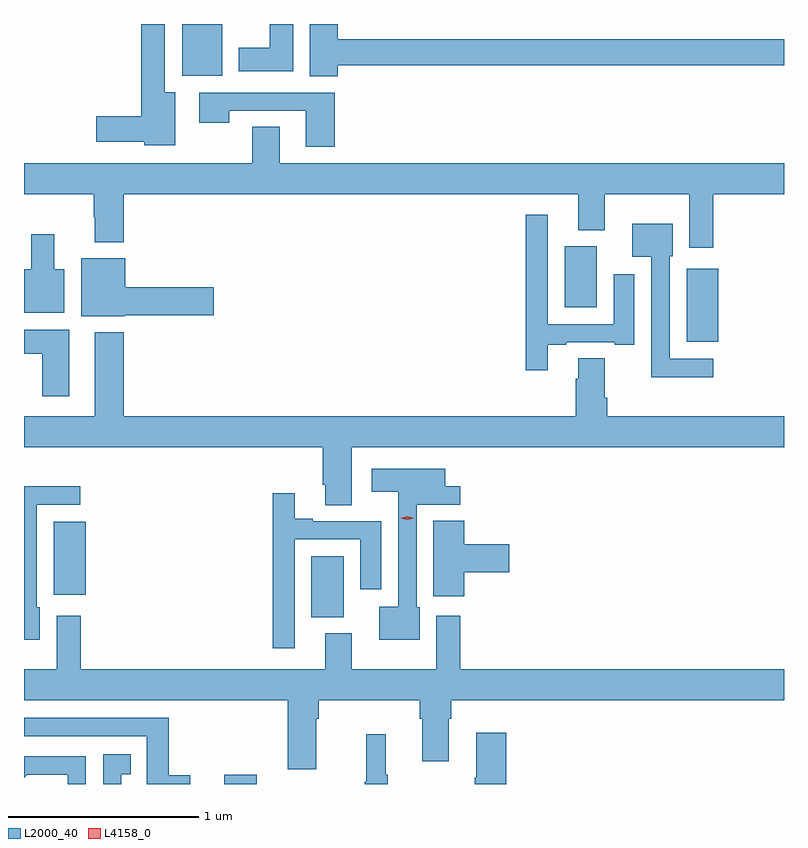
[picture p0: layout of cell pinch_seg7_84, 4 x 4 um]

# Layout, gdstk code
import gdstk
lib = gdstk.Library(unit=1e-6, precision=1e-09)
def R(c, l, rs):  # rectangles x0, y0, x1, y1
    for r in rs: c.add(gdstk.rectangle(r[:2], r[2:], *l))
def P(c, l, *ps):  # polygons
    for p in ps: c.add(gdstk.Polygon(p, *l))
L2000_40 = (2000, 40)
L4158_0 = (4158, 0)

pinch_seg7_84 = lib.new_cell('pinch_seg7_84')
R(pinch_seg7_84, L2000_40, [(912.818,1040.136,912.989,1040.185), (913.277,1041.014,913.447,1041.334), (911.921,1041.131,912.088,1041.517), (915.251,1042.463,915.418,1042.849), (914.609,1042.646,914.779,1042.966), (912.596,1043.864,912.808,1044.136)])
P(pinch_seg7_84, L2000_40, [(913.415,1043.92),(915.764,1043.92),(915.764,1044.056),(913.415,1044.056),(913.415,1044.136),(913.268,1044.136),(913.268,1043.86),(913.415,1043.86)],
  [(913.18,1044.136),(913.058,1044.136),(913.058,1044.01),(912.893,1044.01),(912.893,1043.888),(913.18,1043.888)],
  [(912.559,1043.776),(912.505,1043.776),(912.505,1044.136),(912.38,1044.136),(912.38,1043.651),(912.144,1043.651),(912.144,1043.516),(912.396,1043.516),(912.396,1043.498),(912.559,1043.498)],
  [(913.4,1043.775),(912.687,1043.775),(912.687,1043.616),(912.843,1043.616),(912.843,1043.679),(913.247,1043.679),(913.247,1043.49),(913.4,1043.49)],
  [(915.392,1043.24),(915.764,1043.24),(915.764,1043.404),(913.111,1043.404),(913.111,1043.594),(912.964,1043.594),(912.964,1043.404),(911.764,1043.404),(911.764,1043.24),(912.13,1043.24),(912.13,1043.12),(912.137,1043.12),(912.137,1042.988),(912.29,1042.988),(912.29,1043.24),(914.681,1043.24),(914.681,1043.051),(914.821,1043.051),(914.821,1043.24),(915.266,1043.24),(915.266,1042.959),(915.392,1042.959)],
  [(914.521,1042.449),(914.617,1042.449),(914.617,1042.461),(914.873,1042.461),(914.873,1042.449),(914.977,1042.449),(914.977,1042.819),(914.867,1042.819),(914.867,1042.557),(914.52,1042.557),(914.52,1043.131),(914.404,1043.131),(914.404,1042.314),(914.521,1042.314)],
  [(915.391,1042.374),(915.162,1042.374),(915.162,1042.914),(915.178,1042.914),(915.178,1043.086),(914.966,1043.086),(914.966,1042.91),(915.066,1042.91),(915.066,1042.277),(915.391,1042.277)],
  [(911.977,1042.846),(911.923,1042.846),(911.923,1043.029),(911.801,1043.029),(911.801,1042.846),(911.764,1042.846),(911.764,1042.616),(911.977,1042.616)],
  [(912.294,1042.603),(912.763,1042.603),(912.763,1042.751),(912.298,1042.751),(912.298,1042.903),(912.065,1042.903),(912.065,1042.598),(912.294,1042.598)],
  [(912.001,1042.528),(911.764,1042.528),(911.764,1042.4),(911.861,1042.4),(911.861,1042.176),(912.001,1042.176)],
  [(914.681,1042.376),(914.681,1042.268),(914.669,1042.268),(914.669,1042.072),(912.29,1042.072),(912.29,1042.513),(912.137,1042.513),(912.137,1042.072),(911.764,1042.072),(911.764,1041.908),(913.337,1041.908),(913.337,1041.712),(913.349,1041.712),(913.349,1041.604),(913.489,1041.604),(913.489,1041.908),(915.764,1041.908),(915.764,1042.072),(914.834,1042.072),(914.834,1042.168),(914.821,1042.168),(914.821,1042.376)],
  [(913.846,1041.066),(913.83,1041.066),(913.83,1041.606),(914.059,1041.606),(914.059,1041.704),(913.981,1041.704),(913.981,1041.796),(913.593,1041.796),(913.593,1041.674),(913.734,1041.674),(913.734,1041.07),(913.634,1041.07),(913.634,1040.894),(913.846,1040.894)],
  [(911.848,1041.066),(911.832,1041.066),(911.832,1041.606),(912.061,1041.606),(912.061,1041.704),(911.764,1041.704),(911.764,1040.894),(911.848,1040.894)],
  [(913.188,1041.423),(913.535,1041.423),(913.535,1041.162),(913.645,1041.162),(913.645,1041.519),(913.285,1041.519),(913.285,1041.532),(913.189,1041.532),(913.189,1041.667),(913.072,1041.667),(913.072,1040.85),(913.188,1040.85)],
  [(914.081,1041.251),(914.317,1041.251),(914.317,1041.398),(914.081,1041.398),(914.081,1041.521),(913.919,1041.521),(913.919,1041.123),(914.081,1041.123)],
  [(913.303,1040.48),(913.316,1040.48),(913.316,1040.576),(913.847,1040.576),(913.847,1040.48),(913.859,1040.48),(913.859,1040.256),(913.999,1040.256),(913.999,1040.48),(914.012,1040.48),(914.012,1040.576),(915.764,1040.576),(915.764,1040.74),(914.06,1040.74),(914.06,1041.022),(913.934,1041.022),(913.934,1040.74),(913.489,1040.74),(913.489,1040.929),(913.349,1040.929),(913.349,1040.74),(912.062,1040.74),(912.062,1041.022),(911.936,1041.022),(911.936,1040.74),(911.764,1040.74),(911.764,1040.576),(913.151,1040.576),(913.151,1040.214),(913.303,1040.214)],
  [(912.638,1040.182),(912.527,1040.182),(912.527,1040.484),(911.764,1040.484),(911.764,1040.388),(912.411,1040.388),(912.411,1040.136),(912.638,1040.136)],
  [(914.303,1040.407),(914.144,1040.407),(914.144,1040.168),(914.137,1040.168),(914.137,1040.136),(914.303,1040.136)],
  [(913.678,1040.185),(913.667,1040.185),(913.667,1040.398),(913.564,1040.398),(913.564,1040.148),(913.557,1040.148),(913.557,1040.136),(913.678,1040.136)],
  [(912.277,1040.187),(912.326,1040.187),(912.326,1040.293),(912.18,1040.293),(912.18,1040.136),(912.277,1040.136)],
  [(912.09,1040.283),(911.764,1040.283),(911.764,1040.17),(911.78,1040.186),(911.994,1040.186),(911.994,1040.136),(912.09,1040.136)])
P(pinch_seg7_84, L4158_0, [(913.782,1041.526),(913.747,1041.536),(913.747,1041.536),(913.747,1041.536),(913.782,1041.545),(913.818,1041.535),(913.818,1041.535),(913.818,1041.535)])

lib.write_gds('pinch_seg7_84.gds')
